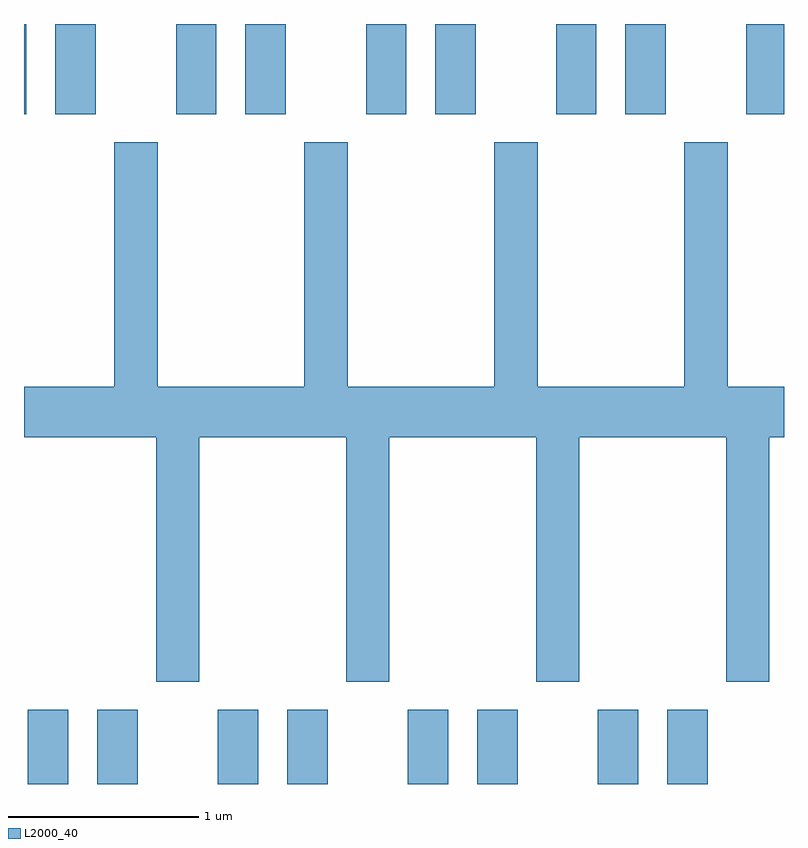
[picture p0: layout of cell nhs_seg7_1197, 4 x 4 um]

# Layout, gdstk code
import gdstk
lib = gdstk.Library(unit=1e-6, precision=1e-09)
def R(c, l, rs):  # rectangles x0, y0, x1, y1
    for r in rs: c.add(gdstk.rectangle(r[:2], r[2:], *l))
def P(c, l, *ps):  # polygons
    for p in ps: c.add(gdstk.Polygon(p, *l))
L2000_40 = (2000, 40)

nhs_seg7_1197 = lib.new_cell('nhs_seg7_1197')
R(nhs_seg7_1197, L2000_40, [(221.631,1730.252,221.844,1730.644), (221.996,1730.252,222.209,1730.644), (222.631,1730.252,222.844,1730.644), (222.996,1730.252,223.209,1730.644), (223.631,1730.252,223.844,1730.644), (223.996,1730.252,224.209,1730.644), (224.631,1730.252,224.844,1730.644), (224.996,1730.252,225.209,1730.644), (221.611,1733.776,221.624,1734.252), (221.776,1733.776,221.989,1734.252), (222.411,1733.776,222.624,1734.252), (222.776,1733.776,222.989,1734.252), (223.411,1733.776,223.624,1734.252), (223.776,1733.776,223.989,1734.252), (224.411,1733.776,224.624,1734.252), (224.776,1733.776,224.989,1734.252), (225.411,1733.776,225.611,1734.252)])
P(nhs_seg7_1197, L2000_40, [(222.534,1732.076),(223.306,1732.076),(223.306,1730.791),(223.534,1730.791),(223.534,1732.076),(224.306,1732.076),(224.306,1730.791),(224.534,1730.791),(224.534,1732.076),(225.306,1732.076),(225.306,1730.791),(225.534,1730.791),(225.534,1732.076),(225.611,1732.076),(225.611,1732.344),(225.314,1732.344),(225.314,1733.629),(225.086,1733.629),(225.086,1732.344),(224.314,1732.344),(224.314,1733.629),(224.086,1733.629),(224.086,1732.344),(223.314,1732.344),(223.314,1733.629),(223.086,1733.629),(223.086,1732.344),(222.314,1732.344),(222.314,1733.629),(222.086,1733.629),(222.086,1732.344),(221.611,1732.344),(221.611,1732.076),(222.306,1732.076),(222.306,1730.791),(222.534,1730.791)])

lib.write_gds('nhs_seg7_1197.gds')
